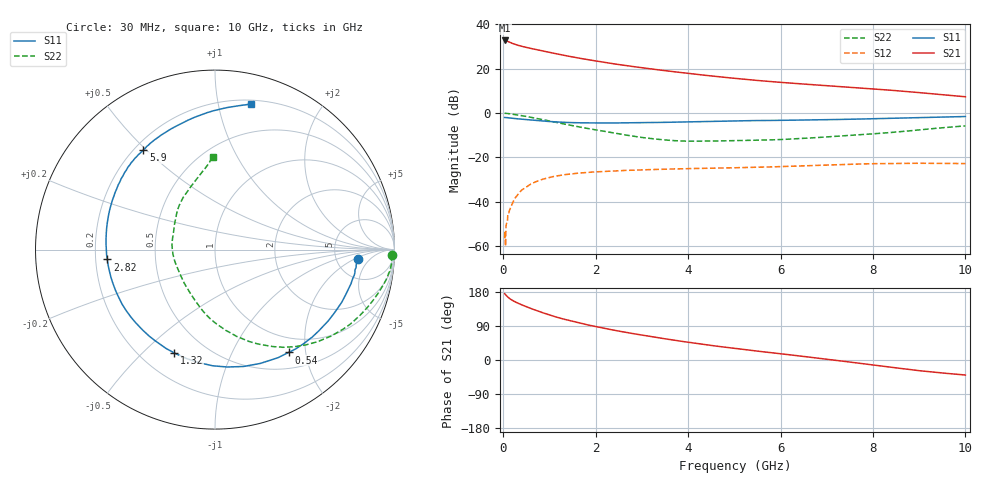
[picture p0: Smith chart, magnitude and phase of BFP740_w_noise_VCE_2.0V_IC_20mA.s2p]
! Infineon Technologies  Discrete & RF Semiconductors
! BFP740
! VCE =  2.0 V,  IC =  20 mA
! Common Emitter S-Parameters:  Jan 2016
# GHz  S  MA  R  50
!  f  S11  S21  S12  S22
! GHz  MAG  ANG  MAG  ANG  MAG  ANG  MAG  ANG
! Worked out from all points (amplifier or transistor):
!   229 points, 30 MHz to 10 GHz, reference 50 ohm
!   highest |S21| = 32.7 dB at 30 MHz (marker M1)
!   |S21| within 3 dB of that: start of sweep to 472.3 MHz
!   unconditionally stable (mu >= 1): 6.161 GHz to end of sweep
!   at 280 MHz: K = 0.22, MSG = 34.3 dB, |S12| = -37.7 dB
!   at 1.78 GHz: K = 0.45, MSG = 25.6 dB, |S12| = -26.8 dB
!   at 10 GHz: K = 1.03, MAG = 14.0 dB, |S12| = -22.8 dB
!   lowest NFmin = 0.68 dB at 450 MHz
!   S11 on the Smith chart (normalised r, x): 30 MHz: 8.19, -2.24; 540 MHz: 0.74, -1.69; 1.32 GHz: 0.34, -0.62; 2.82 GHz: 0.25, -0.04; 5.9 GHz: 0.23, +0.49; 10 GHz: 0.23, +1.25
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0.03  0.7961 -3.6  43.34 175.1  0.0015 93.8  0.9886 -1.9
0.05  0.7911 -6.0  43.11 172.5  0.001 124.6  0.9839 -3.7
0.07  0.788 -8.3  42.49 169.6  0.0032 76.4  0.9844 -5.5
0.11  0.7821 -12.9  40.82 164.9  0.0056 81.6  0.974 -8.6
0.15  0.7741 -17.3  39.15 161.1  0.007 85.3  0.9603 -11.5
0.2  0.765 -22.4  37.16 157.2  0.0092 77.8  0.942 -14.8
0.34  0.7375 -36.1  33.28 148.8  0.0156 72.0  0.8949 -23.0
0.54  0.7045 -54.4  29.53 138.9  0.0231 63.3  0.8255 -33.8
0.7  0.6826 -68.3  27.2 131.3  0.0282 57.0  0.7688 -41.8
0.9  0.6578 -84.0  24.6 122.8  0.0333 50.3  0.6974 -50.9
1.1  0.6361 -98.1  22.24 115.0  0.0374 44.5  0.6297 -59.1
1.32  0.6185 -111.7  19.97 107.6  0.0407 39.3  0.5662 -67.0
1.7  0.6029 -131.9  16.89 96.1  0.045 32.5  0.4742 -79.1
2.22  0.5989 -154.2  13.73 82.7  0.0485 25.6  0.3809 -94.9
2.82  0.6029 -174.8  11.15 69.4  0.0515 20.0  0.3005 -112.5
3.4  0.6155 168.7  9.31 57.9  0.054 15.6  0.2535 -132.5
4.2  0.6413 150.2  7.433 43.4  0.0563 11.0  0.2329 -161.3
5.1  0.6694 135.2  5.939 29.2  0.0587 7.2  0.2406 174.1
5.9  0.6842 125.7  5.016 17.9  0.0617 4.7  0.2506 157.1
6.8  0.7052 115.1  4.289 5.0  0.0667 0.4  0.281 140.9
8.4  0.7645 93.2  3.266 -19.3  0.0732 -10.4  0.366 113.5
10  0.8361 76.0  2.33 -39.6  0.0728 -19.7  0.514 91.5
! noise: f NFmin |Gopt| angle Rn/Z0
0.45  0.68  0.07  3  0.22
0.9  0.68  0.08  19  0.21
1.5  0.71  0.08  38  0.21
1.9  0.73  0.08  49  0.2
2.4  0.76  0.08  60  0.19
3.5  0.86  0.08  134  0.18
5.5  1.03  0.18  -118  0.16
10  1.39  0.51  -67  0.23
